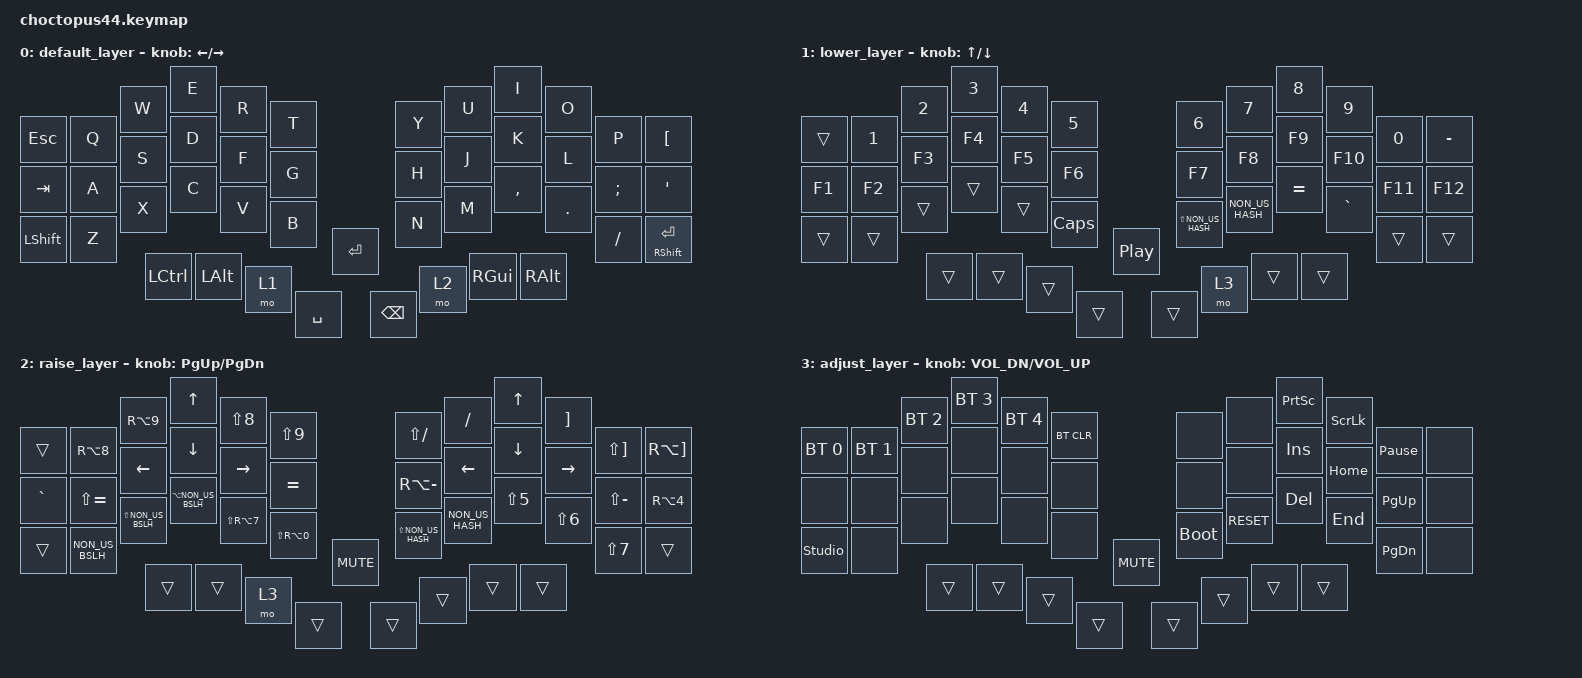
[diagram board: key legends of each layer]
/*
 * Copyright (c) 2021 The ZMK Contributors
 *
 * SPDX-License-Identifier: MIT
 */

#include <behaviors.dtsi>
#include <dt-bindings/zmk/keys.h>
#include <dt-bindings/zmk/bt.h>
#include <dt-bindings/zmk/rgb.h>

&mt {
    tapping-term-ms = <400>;
};

/ {
  keymap {
    compatible = "zmk,keymap";


    default_layer {
      bindings = <
        &kp ESC     &kp Q     &kp W       &kp E     &kp R    &kp T                &kp Y     &kp U     &kp I      &kp O    &kp P     &kp LBKT
        &kp TAB     &kp A     &kp S       &kp D     &kp F    &kp G                &kp H     &kp J     &kp K      &kp L    &kp SEMI  &kp SQT
        &kp LSHFT   &kp Z     &kp X       &kp C     &kp V    &kp B      &kp RET   &kp N     &kp M     &kp COMMA  &kp DOT  &kp FSLH  &mt RSHFT RET
                              &kp LCTRL   &kp LALT  &mo 1    &kp SPACE            &kp BSPC  &mo 2     &kp RGUI   &kp RALT
      >;
      sensor-bindings = <&inc_dec_kp LEFT RIGHT>;
    };

    lower_layer {
      bindings = <
        &trans    &kp N1    &kp N2  &kp N3   &kp N4   &kp N5                          &kp N6              &kp N7            &kp N8      &kp N9      &kp N0    &kp MINUS
        &kp F1    &kp F2    &kp F3  &kp F4   &kp F5   &kp F6                          &kp F7              &kp F8            &kp F9      &kp F10     &kp F11   &kp F12
        &trans    &trans    &trans  &trans   &trans   &kp CAPS    &kp C_PLAY_PAUSE    &kp LS(NON_US_HASH) &kp NON_US_HASH   &kp EQUAL   &kp GRAVE   &trans    &trans
                            &trans  &trans   &trans   &trans                          &trans              &mo 3             &trans      &trans
      >;
      sensor-bindings = <&inc_dec_kp UP DOWN>;
    };

    raise_layer {
      bindings = <
        &trans      &kp RA(N8)        &kp RA(N9)            &kp UP                &kp LS(N8)      &kp LS(N9)                      &kp LS(FSLH)        &kp FSLH          &kp UP      &kp RBKT    &kp LS(RBKT)  &kp RA(RBKT)
        &kp GRAVE   &kp LS(EQUAL)     &kp LEFT              &kp DOWN              &kp RIGHT       &kp EQUAL                       &kp RA(MINUS)       &kp LEFT          &kp DOWN    &kp RIGHT   &kp LS(MINUS) &kp RA(N4)
        &trans      &kp NON_US_BSLH   &kp LS(NON_US_BSLH)   &kp LA(NON_US_BSLH)   &kp LS(RA(N7))  &kp LS(RA(N0))   &kp C_MUTE     &kp LS(NON_US_HASH) &kp NON_US_HASH   &kp LS(N5)  &kp LS(N6)  &kp LS(N7)    &trans
                                      &trans                &trans                &mo 3           &trans                          &trans              &trans            &trans      &trans
      >;
      sensor-bindings = <&inc_dec_kp PG_UP PG_DN>;
    };

    adjust_layer {
      bindings = <
        &bt BT_SEL 0    &bt BT_SEL 1    &bt BT_SEL 2    &bt BT_SEL 3    &bt BT_SEL 4    &bt BT_CLR                &none         &none         &kp PSCRN     &kp SLCK    &kp PAUSE_BREAK   &none
        &none           &none           &none           &none           &none           &none                     &none         &none         &kp INSERT    &kp HOME    &kp PG_UP         &none
        &studio_unlock  &none           &none           &none           &none           &none       &kp C_MUTE    &bootloader   &kp C_RESET   &kp DEL       &kp END     &kp PG_DN         &none
                                        &trans          &trans          &trans          &trans                    &trans        &trans        &trans        &trans
      >;
      sensor-bindings = <&inc_dec_kp C_VOL_DN C_VOL_UP>;
    };

  };
};
